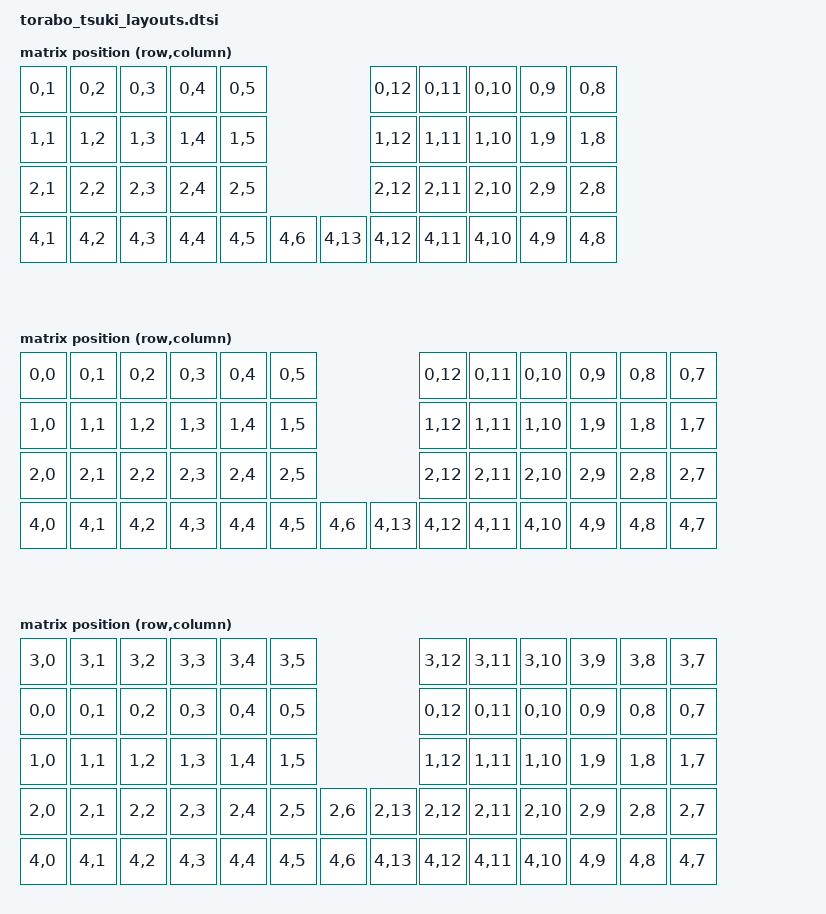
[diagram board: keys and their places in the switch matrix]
#include <physical_layouts.dtsi>
#include <dt-bindings/zmk/matrix_transform.h>

/ {
    physical_layout_s: physical_layout_0 {
        compatible = "zmk,physical-layout";
        display-name = "S Layout";
        kscan = <&kscan0>;
        transform = <&size_s_transform>;
        keys
        = <&key_physical_attrs 100 100    0   0   0   0   0>
        , <&key_physical_attrs 100 100  100   0   0   0   0>
        , <&key_physical_attrs 100 100  200   0   0   0   0>
        , <&key_physical_attrs 100 100  300   0   0   0   0>
        , <&key_physical_attrs 100 100  400   0   0   0   0>
        , <&key_physical_attrs 100 100  700   0   0   0   0>
        , <&key_physical_attrs 100 100  800   0   0   0   0>
        , <&key_physical_attrs 100 100  900   0   0   0   0>
        , <&key_physical_attrs 100 100 1000   0   0   0   0>
        , <&key_physical_attrs 100 100 1100   0   0   0   0>
        , <&key_physical_attrs 100 100    0 100   0   0   0>
        , <&key_physical_attrs 100 100  100 100   0   0   0>
        , <&key_physical_attrs 100 100  200 100   0   0   0>
        , <&key_physical_attrs 100 100  300 100   0   0   0>
        , <&key_physical_attrs 100 100  400 100   0   0   0>
        , <&key_physical_attrs 100 100  700 100   0   0   0>
        , <&key_physical_attrs 100 100  800 100   0   0   0>
        , <&key_physical_attrs 100 100  900 100   0   0   0>
        , <&key_physical_attrs 100 100 1000 100   0   0   0>
        , <&key_physical_attrs 100 100 1100 100   0   0   0>
        , <&key_physical_attrs 100 100    0 200   0   0   0>
        , <&key_physical_attrs 100 100  100 200   0   0   0>
        , <&key_physical_attrs 100 100  200 200   0   0   0>
        , <&key_physical_attrs 100 100  300 200   0   0   0>
        , <&key_physical_attrs 100 100  400 200   0   0   0>
        , <&key_physical_attrs 100 100  700 200   0   0   0>
        , <&key_physical_attrs 100 100  800 200   0   0   0>
        , <&key_physical_attrs 100 100  900 200   0   0   0>
        , <&key_physical_attrs 100 100 1000 200   0   0   0>
        , <&key_physical_attrs 100 100 1100 200   0   0   0>
        , <&key_physical_attrs 100 100    0 300   0   0   0>
        , <&key_physical_attrs 100 100  100 300   0   0   0>
        , <&key_physical_attrs 100 100  200 300   0   0   0>
        , <&key_physical_attrs 100 100  300 300   0   0   0>
        , <&key_physical_attrs 100 100  400 300   0   0   0>
        , <&key_physical_attrs 100 100  500 300   0   0   0>
        , <&key_physical_attrs 100 100  600 300   0   0   0>
        , <&key_physical_attrs 100 100  700 300   0   0   0>
        , <&key_physical_attrs 100 100  800 300   0   0   0>
        , <&key_physical_attrs 100 100  900 300   0   0   0>
        , <&key_physical_attrs 100 100 1000 300   0   0   0>
        , <&key_physical_attrs 100 100 1100 300   0   0   0>
        ;
    };

    physical_layout_m: physical_layout_1 {
        compatible = "zmk,physical-layout";
        display-name = "M Layout";
        kscan = <&kscan0>;
        transform = <&size_m_transform>;
        keys
        = <&key_physical_attrs 100 100    0   0   0   0   0>
        , <&key_physical_attrs 100 100  100   0   0   0   0>
        , <&key_physical_attrs 100 100  200   0   0   0   0>
        , <&key_physical_attrs 100 100  300   0   0   0   0>
        , <&key_physical_attrs 100 100  400   0   0   0   0>
        , <&key_physical_attrs 100 100  500   0   0   0   0>
        , <&key_physical_attrs 100 100  800   0   0   0   0>
        , <&key_physical_attrs 100 100  900   0   0   0   0>
        , <&key_physical_attrs 100 100 1000   0   0   0   0>
        , <&key_physical_attrs 100 100 1100   0   0   0   0>
        , <&key_physical_attrs 100 100 1200   0   0   0   0>
        , <&key_physical_attrs 100 100 1300   0   0   0   0>
        , <&key_physical_attrs 100 100    0 100   0   0   0>
        , <&key_physical_attrs 100 100  100 100   0   0   0>
        , <&key_physical_attrs 100 100  200 100   0   0   0>
        , <&key_physical_attrs 100 100  300 100   0   0   0>
        , <&key_physical_attrs 100 100  400 100   0   0   0>
        , <&key_physical_attrs 100 100  500 100   0   0   0>
        , <&key_physical_attrs 100 100  800 100   0   0   0>
        , <&key_physical_attrs 100 100  900 100   0   0   0>
        , <&key_physical_attrs 100 100 1000 100   0   0   0>
        , <&key_physical_attrs 100 100 1100 100   0   0   0>
        , <&key_physical_attrs 100 100 1200 100   0   0   0>
        , <&key_physical_attrs 100 100 1300 100   0   0   0>
        , <&key_physical_attrs 100 100    0 200   0   0   0>
        , <&key_physical_attrs 100 100  100 200   0   0   0>
        , <&key_physical_attrs 100 100  200 200   0   0   0>
        , <&key_physical_attrs 100 100  300 200   0   0   0>
        , <&key_physical_attrs 100 100  400 200   0   0   0>
        , <&key_physical_attrs 100 100  500 200   0   0   0>
        , <&key_physical_attrs 100 100  800 200   0   0   0>
        , <&key_physical_attrs 100 100  900 200   0   0   0>
        , <&key_physical_attrs 100 100 1000 200   0   0   0>
        , <&key_physical_attrs 100 100 1100 200   0   0   0>
        , <&key_physical_attrs 100 100 1200 200   0   0   0>
        , <&key_physical_attrs 100 100 1300 200   0   0   0>
        , <&key_physical_attrs 100 100    0 300   0   0   0>
        , <&key_physical_attrs 100 100  100 300   0   0   0>
        , <&key_physical_attrs 100 100  200 300   0   0   0>
        , <&key_physical_attrs 100 100  300 300   0   0   0>
        , <&key_physical_attrs 100 100  400 300   0   0   0>
        , <&key_physical_attrs 100 100  500 300   0   0   0>
        , <&key_physical_attrs 100 100  600 300   0   0   0>
        , <&key_physical_attrs 100 100  700 300   0   0   0>
        , <&key_physical_attrs 100 100  800 300   0   0   0>
        , <&key_physical_attrs 100 100  900 300   0   0   0>
        , <&key_physical_attrs 100 100 1000 300   0   0   0>
        , <&key_physical_attrs 100 100 1100 300   0   0   0>
        , <&key_physical_attrs 100 100 1200 300   0   0   0>
        , <&key_physical_attrs 100 100 1300 300   0   0   0>
        ;
    };

    physical_layout_l: physical_layout_2 {
        compatible = "zmk,physical-layout";
        display-name = "L Layout";
        kscan = <&kscan0>;
        transform = <&size_l_transform>;
        keys
        = <&key_physical_attrs 100 100    0   0   0   0   0>
        , <&key_physical_attrs 100 100  100   0   0   0   0>
        , <&key_physical_attrs 100 100  200   0   0   0   0>
        , <&key_physical_attrs 100 100  300   0   0   0   0>
        , <&key_physical_attrs 100 100  400   0   0   0   0>
        , <&key_physical_attrs 100 100  500   0   0   0   0>
        , <&key_physical_attrs 100 100  800   0   0   0   0>
        , <&key_physical_attrs 100 100  900   0   0   0   0>
        , <&key_physical_attrs 100 100 1000   0   0   0   0>
        , <&key_physical_attrs 100 100 1100   0   0   0   0>
        , <&key_physical_attrs 100 100 1200   0   0   0   0>
        , <&key_physical_attrs 100 100 1300   0   0   0   0>
        , <&key_physical_attrs 100 100    0 100   0   0   0>
        , <&key_physical_attrs 100 100  100 100   0   0   0>
        , <&key_physical_attrs 100 100  200 100   0   0   0>
        , <&key_physical_attrs 100 100  300 100   0   0   0>
        , <&key_physical_attrs 100 100  400 100   0   0   0>
        , <&key_physical_attrs 100 100  500 100   0   0   0>
        , <&key_physical_attrs 100 100  800 100   0   0   0>
        , <&key_physical_attrs 100 100  900 100   0   0   0>
        , <&key_physical_attrs 100 100 1000 100   0   0   0>
        , <&key_physical_attrs 100 100 1100 100   0   0   0>
        , <&key_physical_attrs 100 100 1200 100   0   0   0>
        , <&key_physical_attrs 100 100 1300 100   0   0   0>
        , <&key_physical_attrs 100 100    0 200   0   0   0>
        , <&key_physical_attrs 100 100  100 200   0   0   0>
        , <&key_physical_attrs 100 100  200 200   0   0   0>
        , <&key_physical_attrs 100 100  300 200   0   0   0>
        , <&key_physical_attrs 100 100  400 200   0   0   0>
        , <&key_physical_attrs 100 100  500 200   0   0   0>
        , <&key_physical_attrs 100 100  800 200   0   0   0>
        , <&key_physical_attrs 100 100  900 200   0   0   0>
        , <&key_physical_attrs 100 100 1000 200   0   0   0>
        , <&key_physical_attrs 100 100 1100 200   0   0   0>
        , <&key_physical_attrs 100 100 1200 200   0   0   0>
        , <&key_physical_attrs 100 100 1300 200   0   0   0>
        , <&key_physical_attrs 100 100    0 300   0   0   0>
        , <&key_physical_attrs 100 100  100 300   0   0   0>
        , <&key_physical_attrs 100 100  200 300   0   0   0>
        , <&key_physical_attrs 100 100  300 300   0   0   0>
        , <&key_physical_attrs 100 100  400 300   0   0   0>
        , <&key_physical_attrs 100 100  500 300   0   0   0>
        , <&key_physical_attrs 100 100  600 300   0   0   0>
        , <&key_physical_attrs 100 100  700 300   0   0   0>
        , <&key_physical_attrs 100 100  800 300   0   0   0>
        , <&key_physical_attrs 100 100  900 300   0   0   0>
        , <&key_physical_attrs 100 100 1000 300   0   0   0>
        , <&key_physical_attrs 100 100 1100 300   0   0   0>
        , <&key_physical_attrs 100 100 1200 300   0   0   0>
        , <&key_physical_attrs 100 100 1300 300   0   0   0>
        , <&key_physical_attrs 100 100    0 400   0   0   0>
        , <&key_physical_attrs 100 100  100 400   0   0   0>
        , <&key_physical_attrs 100 100  200 400   0   0   0>
        , <&key_physical_attrs 100 100  300 400   0   0   0>
        , <&key_physical_attrs 100 100  400 400   0   0   0>
        , <&key_physical_attrs 100 100  500 400   0   0   0>
        , <&key_physical_attrs 100 100  600 400   0   0   0>
        , <&key_physical_attrs 100 100  700 400   0   0   0>
        , <&key_physical_attrs 100 100  800 400   0   0   0>
        , <&key_physical_attrs 100 100  900 400   0   0   0>
        , <&key_physical_attrs 100 100 1000 400   0   0   0>
        , <&key_physical_attrs 100 100 1100 400   0   0   0>
        , <&key_physical_attrs 100 100 1200 400   0   0   0>
        , <&key_physical_attrs 100 100 1300 400   0   0   0>
        ;
    };

    size_s_transform: keymap_transform_0 {
        compatible = "zmk,matrix-transform";
        columns = <14>;
        rows = <4>;
        map = <
            RC(0,1) RC(0,2) RC(0,3) RC(0,4) RC(0,5)                  RC(0,12) RC(0,11) RC(0,10) RC(0,9) RC(0,8)
            RC(1,1) RC(1,2) RC(1,3) RC(1,4) RC(1,5)                  RC(1,12) RC(1,11) RC(1,10) RC(1,9) RC(1,8)
            RC(2,1) RC(2,2) RC(2,3) RC(2,4) RC(2,5)                  RC(2,12) RC(2,11) RC(2,10) RC(2,9) RC(2,8)
            RC(4,1) RC(4,2) RC(4,3) RC(4,4) RC(4,5) RC(4,6) RC(4,13) RC(4,12) RC(4,11) RC(4,10) RC(4,9) RC(4,8)
        >;
    };

    size_m_transform: keymap_transform_1 {
        compatible = "zmk,matrix-transform";
        columns = <14>;
        rows = <4>;
        map = <
            RC(0,0) RC(0,1) RC(0,2) RC(0,3) RC(0,4) RC(0,5)                  RC(0,12) RC(0,11) RC(0,10) RC(0,9) RC(0,8) RC(0,7)
            RC(1,0) RC(1,1) RC(1,2) RC(1,3) RC(1,4) RC(1,5)                  RC(1,12) RC(1,11) RC(1,10) RC(1,9) RC(1,8) RC(1,7)
            RC(2,0) RC(2,1) RC(2,2) RC(2,3) RC(2,4) RC(2,5)                  RC(2,12) RC(2,11) RC(2,10) RC(2,9) RC(2,8) RC(2,7)
            RC(4,0) RC(4,1) RC(4,2) RC(4,3) RC(4,4) RC(4,5) RC(4,6) RC(4,13) RC(4,12) RC(4,11) RC(4,10) RC(4,9) RC(4,8) RC(4,7)
        >;
    };

    size_l_transform: keymap_transform_2 {
        compatible = "zmk,matrix-transform";
        columns = <14>;
        rows = <5>;
        map = <
            RC(3,0) RC(3,1) RC(3,2) RC(3,3) RC(3,4) RC(3,5)                  RC(3,12) RC(3,11) RC(3,10) RC(3,9) RC(3,8) RC(3,7)
            RC(0,0) RC(0,1) RC(0,2) RC(0,3) RC(0,4) RC(0,5)                  RC(0,12) RC(0,11) RC(0,10) RC(0,9) RC(0,8) RC(0,7)
            RC(1,0) RC(1,1) RC(1,2) RC(1,3) RC(1,4) RC(1,5)                  RC(1,12) RC(1,11) RC(1,10) RC(1,9) RC(1,8) RC(1,7)
            RC(2,0) RC(2,1) RC(2,2) RC(2,3) RC(2,4) RC(2,5) RC(2,6) RC(2,13) RC(2,12) RC(2,11) RC(2,10) RC(2,9) RC(2,8) RC(2,7)
            RC(4,0) RC(4,1) RC(4,2) RC(4,3) RC(4,4) RC(4,5) RC(4,6) RC(4,13) RC(4,12) RC(4,11) RC(4,10) RC(4,9) RC(4,8) RC(4,7)
        >;
    };
};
